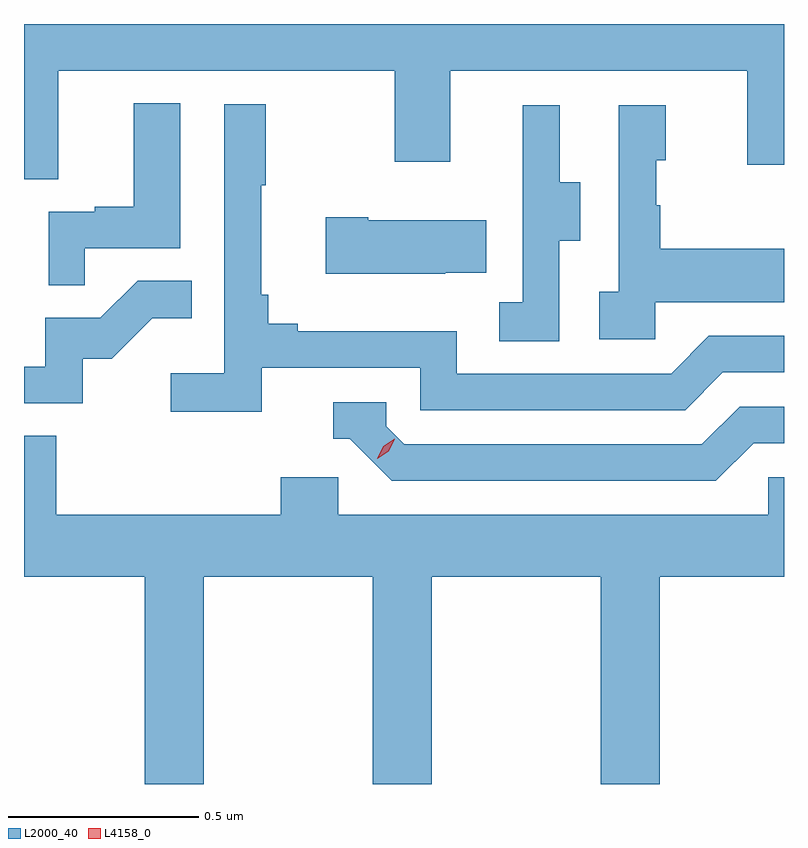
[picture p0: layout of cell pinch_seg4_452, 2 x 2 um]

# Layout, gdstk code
import gdstk
lib = gdstk.Library(unit=1e-6, precision=1e-09)
def P(c, l, *ps):  # polygons
    for p in ps: c.add(gdstk.Polygon(p, *l))
L2000_40 = (2000, 40)
L4158_0 = (4158, 0)

pinch_seg4_452 = lib.new_cell('pinch_seg4_452')
P(pinch_seg4_452, L2000_40, [(900.427,790.16),(901.312,790.16),(901.312,789.921),(901.459,789.921),(901.459,790.16),(902.24,790.16),(902.24,789.912),(902.337,789.912),(902.337,790.283),(900.337,790.283),(900.337,789.874),(900.427,789.874)],
  [(900.497,789.693),(900.748,789.693),(900.748,790.075),(900.626,790.075),(900.626,789.802),(900.523,789.802),(900.523,789.789),(900.402,789.789),(900.402,789.595),(900.497,789.595)],
  [(900.962,789.378),(901.38,789.378),(901.38,789.267),(902.077,789.267),(902.176,789.366),(902.337,789.366),(902.337,789.462),(902.139,789.462),(902.04,789.363),(901.476,789.363),(901.476,789.475),(901.057,789.475),(901.057,789.494),(900.98,789.494),(900.98,789.571),(900.961,789.571),(900.961,789.859),(900.973,789.859),(900.973,790.072),(900.864,790.072),(900.864,789.364),(900.723,789.364),(900.723,789.262),(900.962,789.262)],
  [(901.746,789.712),(901.801,789.712),(901.801,789.867),(901.747,789.867),(901.747,790.069),(901.649,790.069),(901.649,789.855),(901.65,789.855),(901.65,789.551),(901.587,789.551),(901.587,789.448),(901.746,789.448)],
  [(901.998,789.551),(902.337,789.551),(902.337,789.691),(902.011,789.691),(902.011,789.806),(902.001,789.806),(902.001,789.924),(902.026,789.924),(902.026,790.069),(901.902,790.069),(901.902,789.578),(901.851,789.578),(901.851,789.453),(901.998,789.453)],
  [(901.445,789.629),(901.553,789.629),(901.553,789.766),(901.243,789.766),(901.243,789.774),(901.131,789.774),(901.131,789.626),(901.445,789.626)],
  [(900.492,789.402),(900.568,789.402),(900.675,789.509),(900.779,789.509),(900.779,789.608),(900.636,789.608),(900.538,789.51),(900.393,789.51),(900.393,789.381),(900.337,789.381),(900.337,789.285),(900.492,789.285)],
  [(902.257,789.18),(902.337,789.18),(902.337,789.276),(902.22,789.276),(902.121,789.177),(901.338,789.177),(901.29,789.225),(901.29,789.288),(901.151,789.288),(901.151,789.192),(901.194,789.192),(901.305,789.081),(902.158,789.081)],
  [(900.81,788.828),(901.255,788.828),(901.255,788.283),(901.41,788.283),(901.41,788.828),(901.855,788.828),(901.855,788.283),(902.01,788.283),(902.01,788.828),(902.337,788.828),(902.337,789.09),(902.295,789.09),(902.295,788.992),(901.164,788.992),(901.164,789.09),(901.013,789.09),(901.013,788.992),(900.422,788.992),(900.422,789.2),(900.337,789.2),(900.337,788.828),(900.655,788.828),(900.655,788.283),(900.81,788.283)])
P(pinch_seg4_452, L4158_0, [(901.266,789.139),(901.266,789.139),(901.282,789.172),(901.313,789.192),(901.313,789.192),(901.313,789.192),(901.297,789.159),(901.267,789.139)])

lib.write_gds('pinch_seg4_452.gds')
